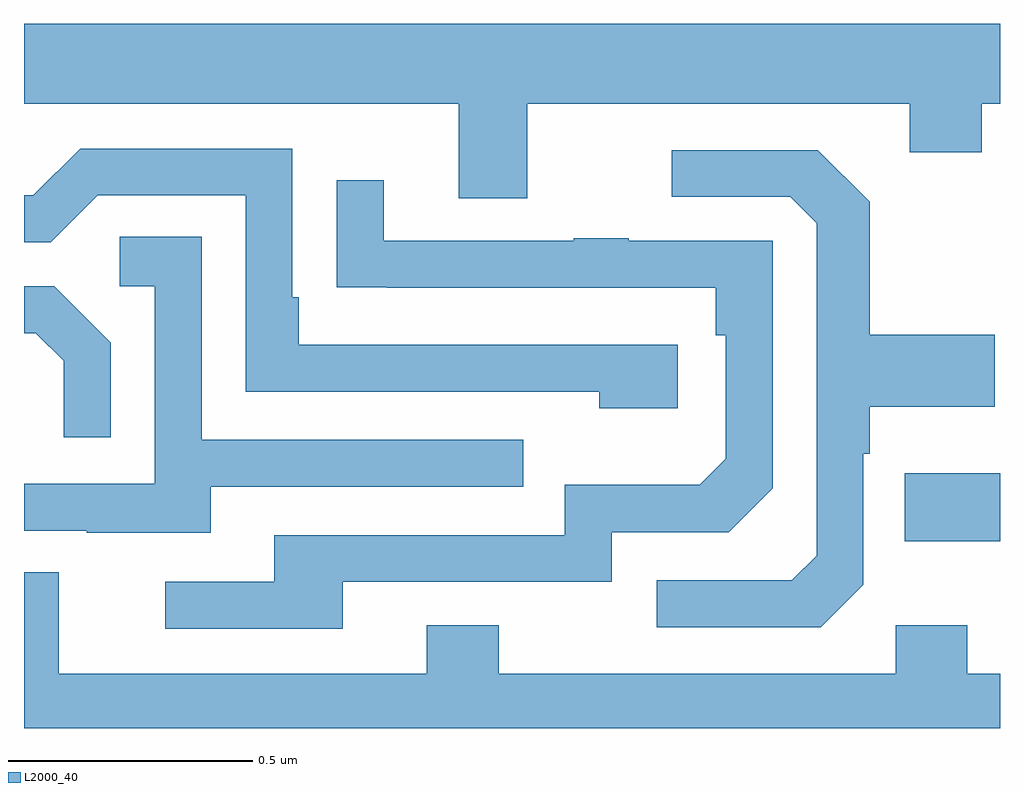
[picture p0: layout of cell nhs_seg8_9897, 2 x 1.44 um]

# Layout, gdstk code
import gdstk
lib = gdstk.Library(unit=1e-6, precision=1e-09)
def R(c, l, rs):  # rectangles x0, y0, x1, y1
    for r in rs: c.add(gdstk.rectangle(r[:2], r[2:], *l))
def P(c, l, *ps):  # polygons
    for p in ps: c.add(gdstk.Polygon(p, *l))
L2000_40 = (2000, 40)

nhs_seg8_9897 = lib.new_cell('nhs_seg8_9897')
R(nhs_seg8_9897, L2000_40, [(243.805,1102.283,244,1102.423)])
P(nhs_seg8_9897, L2000_40, [(243.031,1103.18),(243.815,1103.18),(243.815,1103.081),(243.963,1103.081),(243.963,1103.18),(244,1103.18),(244,1103.344),(242,1103.344),(242,1103.18),(242.891,1103.18),(242.891,1102.986),(243.031,1102.986)],
  [(243.34,1102.686),(242.563,1102.686),(242.563,1102.783),(242.55,1102.783),(242.55,1103.088),(242.115,1103.088),(242.019,1102.992),(242,1102.992),(242,1102.896),(242.055,1102.896),(242.151,1102.992),(242.454,1102.992),(242.454,1102.59),(243.179,1102.59),(243.179,1102.556),(243.34,1102.556)],
  [(243.72,1102.194),(243.72,1102.463),(243.733,1102.463),(243.733,1102.559),(243.989,1102.559),(243.989,1102.707),(243.733,1102.707),(243.733,1102.979),(243.627,1103.085),(243.327,1103.085),(243.327,1102.989),(243.57,1102.989),(243.624,1102.935),(243.624,1102.254),(243.573,1102.203),(243.297,1102.203),(243.297,1102.107),(243.633,1102.107)],
  [(242.653,1102.2),(243.204,1102.2),(243.204,1102.302),(243.444,1102.302),(243.534,1102.392),(243.534,1102.899),(243.239,1102.899),(243.239,1102.904),(243.127,1102.904),(243.127,1102.899),(242.737,1102.899),(242.737,1103.023),(242.641,1103.023),(242.641,1102.804),(242.743,1102.804),(242.743,1102.803),(243.418,1102.803),(243.418,1102.706),(243.438,1102.706),(243.438,1102.452),(243.385,1102.399),(243.108,1102.399),(243.108,1102.296),(242.513,1102.296),(242.513,1102.2),(242.289,1102.2),(242.289,1102.104),(242.653,1102.104)],
  [(242.383,1102.395),(243.023,1102.395),(243.023,1102.491),(242.364,1102.491),(242.364,1102.907),(242.196,1102.907),(242.196,1102.806),(242.268,1102.806),(242.268,1102.401),(242,1102.401),(242,1102.305),(242.129,1102.305),(242.129,1102.301),(242.383,1102.301)],
  [(242.178,1102.69),(242.062,1102.806),(242,1102.806),(242,1102.71),(242.024,1102.71),(242.081,1102.653),(242.081,1102.497),(242.178,1102.497)],
  [(244,1102.012),(243.933,1102.012),(243.933,1102.111),(243.786,1102.111),(243.786,1102.012),(242.973,1102.012),(242.973,1102.111),(242.825,1102.111),(242.825,1102.012),(242.071,1102.012),(242.071,1102.22),(242,1102.22),(242,1101.9),(244,1101.9)])

lib.write_gds('nhs_seg8_9897.gds')
